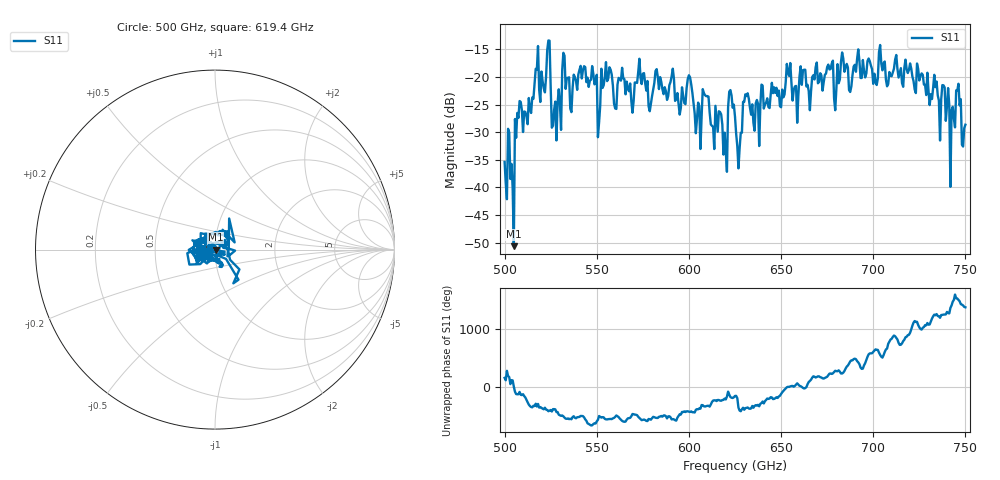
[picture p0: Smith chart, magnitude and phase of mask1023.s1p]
!Created with skrf (http://scikit-rf.org).
# GHz S MA R 50.0
!freq magS11 angS11
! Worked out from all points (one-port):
!   401 points, 500 GHz to 750 GHz, reference 50 ohm
!   lowest |S11| = -50.6 dB at 505 GHz (marker M1), VSWR 1.01, Z = 50.3 + j0.032 ohm
!   |S11| at or under -10 dB: start of sweep to end of sweep
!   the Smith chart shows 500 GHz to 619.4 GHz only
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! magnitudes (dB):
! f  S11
! 500 GHz  -35.4
! 505 GHz  -50.6
! 506.9 GHz  -26.5
! 516.9 GHz  -18.5
! 523.8 GHz  -13.4
! 526.9 GHz  -25.9
! 531.2 GHz  -18.8
! 542.5 GHz  -18.8
! 551.9 GHz  -25.2
! 553.8 GHz  -21.5
! 562.5 GHz  -20.4
! 593.8 GHz  -22.9
! 600.6 GHz  -20.1
! 605 GHz  -24.6
! 608.8 GHz  -23.3
! 619.4 GHz  -30.1
! 622.5 GHz  -22.4
! 625 GHz  -27.2
! 627.5 GHz  -32.9
! 630.6 GHz  -23.1
! 636.9 GHz  -24.2
! 656.2 GHz  -24.3
! 687.5 GHz  -22.7
! 718.8 GHz  -19.3
! 739.4 GHz  -27.9
! 743.1 GHz  -25.4
! 746.2 GHz  -21.2
! 750 GHz  -28.7
